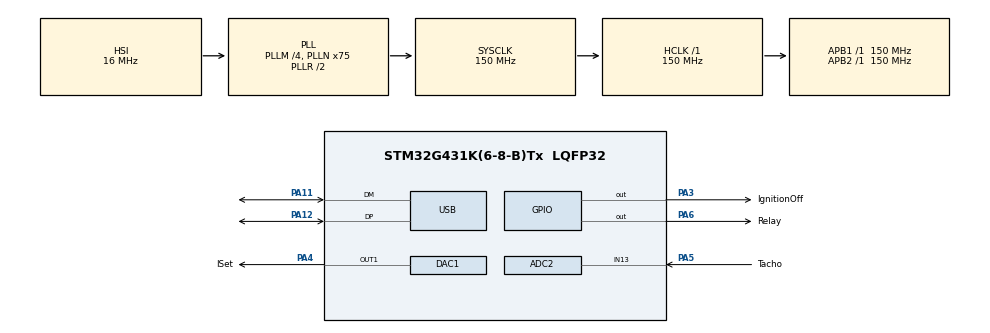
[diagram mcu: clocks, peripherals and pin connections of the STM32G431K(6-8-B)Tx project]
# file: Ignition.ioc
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ADC2.Channel-1\#ChannelRegularConversion=ADC_CHANNEL_13
ADC2.ExternalTrigConv=ADC_EXTERNALTRIG_T1_TRGO
ADC2.NbrOfConversionFlag=1
ADC2.OffsetNumber-1\#ChannelRegularConversion=ADC_OFFSET_NONE
ADC2.Rank-1\#ChannelRegularConversion=1
ADC2.SamplingTime-1\#ChannelRegularConversion=ADC_SAMPLETIME_2CYCLES_5
DAC1.DAC_HighFrequency_OUT1-DAC_OUT1=DAC_HIGH_FREQUENCY_INTERFACE_MODE_ABOVE_80MHZ
DAC1.DAC_OutputBuffer-DAC_OUT1=DAC_OUTPUTBUFFER_DISABLE
Mcu.Family=STM32G4
Mcu.Name=STM32G431K(6-8-B)Tx
Mcu.Package=LQFP32
NVIC.ADC1_2_IRQn=true\:0\:0\:false\:false\:true\:true\:true\:true
NVIC.PriorityGroup=NVIC_PRIORITYGROUP_4
NVIC.TIM1_TRG_COM_TIM17_IRQn=true\:0\:0\:false\:false\:true\:true\:true\:true
NVIC.TIM2_IRQn=true\:0\:0\:false\:false\:true\:true\:true\:true
NVIC.USB_LP_IRQn=true\:0\:0\:false\:false\:true\:false\:true\:true
PA11.Mode=Device
PA11.Signal=USB_DM
PA12.Mode=Device
PA12.Signal=USB_DP
PA13.Mode=Serial_Wire
PA13.Signal=SYS_JTMS-SWDIO
PA14.Mode=Serial_Wire
PA14.Signal=SYS_JTCK-SWCLK
PA3.GPIO_Label=IgnitionOff
PA3.Signal=GPIO_Output
PA4.GPIO_Label=ISet
PA4.Signal=COMP_DAC11_group
PA5.GPIO_Label=Tacho
PA5.Mode=IN13-Single-Ended
PA5.Signal=ADC2_IN13
PA6.GPIO_Label=Relay
PA6.Signal=GPIO_Output
ProjectManager.HeapSize=0x200
ProjectManager.StackSize=0x400
ProjectManager.TargetToolchain=STM32CubeIDE
RCC.ADC12Freq_Value=150000000
RCC.AHBFreq_Value=150000000
RCC.APB1Freq_Value=150000000
RCC.APB1TimFreq_Value=150000000
RCC.APB2Freq_Value=150000000
RCC.APB2TimFreq_Value=150000000
RCC.CK48CLockSelection=RCC_USBCLKSOURCE_HSI48
RCC.CortexFreq_Value=150000000
RCC.EXTERNAL_CLOCK_VALUE=12288000
RCC.HCLKFreq_Value=150000000
RCC.HSE_VALUE=8000000
RCC.HSI48_VALUE=48000000
RCC.HSI_VALUE=16000000
RCC.LSE_VALUE=32768
RCC.PLLM=RCC_PLLM_DIV4
RCC.PLLN=75
RCC.SYSCLKFreq_VALUE=150000000
RCC.SYSCLKSource=RCC_SYSCLKSOURCE_PLLCLK
RCC.USBFreq_Value=48000000
RCC.VCOOutputFreq_Value=300000000
SH.COMP_DAC11_group.0=DAC1_OUT1,DAC_OUT1
TIM1.Channel-PWM\ Generation1\ No\ Output=TIM_CHANNEL_1
TIM1.PeriodNoDither=200
TIM1.TIM_MasterOutputTrigger=TIM_TRGO_UPDATE
TIM2.PeriodNoDither=62499
TIM2.Prescaler=239
USB_DEVICE.CLASS_NAME_FS=CDC
USB_DEVICE.VirtualMode=Cdc
USB_DEVICE.VirtualModeFS=Cdc_FS
VP_SYS_VS_DBSignals.Mode=DisableDeadBatterySignals
VP_TIM1_VS_ClockSourceINT.Mode=Internal
VP_TIM1_VS_no_output1.Mode=PWM Generation1 No Output
VP_TIM2_VS_ClockSourceINT.Mode=Internal
VP_USB_DEVICE_VS_USB_DEVICE_CDC_FS.Mode=CDC_FS
board=custom

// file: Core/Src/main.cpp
/* USER CODE BEGIN Header */
/**
  ******************************************************************************
  * @file           : main.c
  * @brief          : Main program body
  ******************************************************************************
  * @attention
  *
  * Copyright (c) 2024 STMicroelectronics.
  * All rights reserved.
  *
  * This software is licensed under terms that can be found in the LICENSE file
  * in the root directory of this software component.
  * If no LICENSE file comes with this software, it is provided AS-IS.
  *
  ******************************************************************************
  */
/* USER CODE END Header */
#include "main.h"
#include "adc.h"
#include "dac.h"
#include "tim.h"
#include "usb_device.h"
#include "gpio.h"

/* USER CODE BEGIN Includes */
#include "stm32g4xx_hal.h"
#include "stdbool.h"
#include "Flash/Flash.h"
#include "USB/USBCom.h"
/* USER CODE END Includes */

/* USER CODE BEGIN PV */
	Flash flash = Flash();
	USB_Com Usb = USB_Com(&flash);

volatile uint32_t _adcValue = 0;
bool hasChanged = false;
/* USER CODE END PV */

void SystemClock_Config(void);

int main(void)
{

  /* MCU Configuration--------------------------------------------------------*/

  /* Reset of all peripherals, Initializes the Flash interface and the Systick. */
  HAL_Init();

  /* Configure the system clock */
  SystemClock_Config();

  /* Initialize all configured peripherals */
  MX_GPIO_Init();
  MX_USB_Device_Init();
  MX_ADC2_Init();
  MX_DAC1_Init();
  MX_TIM1_Init();
  MX_TIM2_Init();
  /* USER CODE BEGIN 2 */
	HAL_TIM_Base_Start_IT(&htim2);
	HAL_TIM_Base_Start_IT(&htim1);
	HAL_ADC_Start_IT(&hadc2);
	HAL_DAC_Start(&hdac1, DAC_CHANNEL_1);
  /* USER CODE END 2 */

  /* Infinite loop */
  /* USER CODE BEGIN WHILE */
  while (1)
  {

	  if(_adcValue > flash.GetFetOnValue())
	  {
			HAL_DAC_SetValue(&hdac1, DAC_CHANNEL_1, DAC_ALIGN_12B_R, 780);
			HAL_GPIO_WritePin(IgnitionOff_GPIO_Port, IgnitionOff_Pin, GPIO_PIN_RESET);
			HAL_GPIO_WritePin(Relay_GPIO_Port, Relay_Pin, GPIO_PIN_RESET);
			hasChanged = true;
	  }

	  if(_adcValue < flash.GetFetOffValue())
	  {
			HAL_DAC_SetValue(&hdac1, DAC_CHANNEL_1, DAC_ALIGN_12B_R, 0);
			HAL_GPIO_WritePin(IgnitionOff_GPIO_Port, IgnitionOff_Pin, GPIO_PIN_SET);
			HAL_GPIO_WritePin(Relay_GPIO_Port, Relay_Pin, GPIO_PIN_SET);
			hasChanged = true;
	  }
    /* USER CODE END WHILE */

  }
}

void SystemClock_Config(void)
{
  RCC_OscInitTypeDef RCC_OscInitStruct = {0};
  RCC_ClkInitTypeDef RCC_ClkInitStruct = {0};

  /** Configure the main internal regulator output voltage
  */
  HAL_PWREx_ControlVoltageScaling(PWR_REGULATOR_VOLTAGE_SCALE1);

  /** Initializes the RCC Oscillators according to the specified parameters
  * in the RCC_OscInitTypeDef structure.
  */
  RCC_OscInitStruct.OscillatorType = RCC_OSCILLATORTYPE_HSI|RCC_OSCILLATORTYPE_HSI48;
  RCC_OscInitStruct.HSIState = RCC_HSI_ON;
  RCC_OscInitStruct.HSICalibrationValue = RCC_HSICALIBRATION_DEFAULT;
  RCC_OscInitStruct.HSI48State = RCC_HSI48_ON;
  RCC_OscInitStruct.PLL.PLLState = RCC_PLL_ON;
  RCC_OscInitStruct.PLL.PLLSource = RCC_PLLSOURCE_HSI;
  RCC_OscInitStruct.PLL.PLLM = RCC_PLLM_DIV4;
  RCC_OscInitStruct.PLL.PLLN = 75;
  RCC_OscInitStruct.PLL.PLLP = RCC_PLLP_DIV2;
  RCC_OscInitStruct.PLL.PLLQ = RCC_PLLQ_DIV2;
  RCC_OscInitStruct.PLL.PLLR = RCC_PLLR_DIV2;
  if (HAL_RCC_OscConfig(&RCC_OscInitStruct) != HAL_OK)
  {
    Error_Handler();
  }

  /** Initializes the CPU, AHB and APB buses clocks
  */
  RCC_ClkInitStruct.ClockType = RCC_CLOCKTYPE_HCLK|RCC_CLOCKTYPE_SYSCLK
                              |RCC_CLOCKTYPE_PCLK1|RCC_CLOCKTYPE_PCLK2;
  RCC_ClkInitStruct.SYSCLKSource = RCC_SYSCLKSOURCE_PLLCLK;
  RCC_ClkInitStruct.AHBCLKDivider = RCC_SYSCLK_DIV1;
  RCC_ClkInitStruct.APB1CLKDivider = RCC_HCLK_DIV1;
  RCC_ClkInitStruct.APB2CLKDivider = RCC_HCLK_DIV1;

  if (HAL_RCC_ClockConfig(&RCC_ClkInitStruct, FLASH_LATENCY_4) != HAL_OK)
  {
    Error_Handler();
  }
}

/* USER CODE BEGIN 4 */
void HAL_ADC_ConvCpltCallback(ADC_HandleTypeDef *hadc){
	if(hadc->Instance == ADC2){
		_adcValue = hadc->Instance->DR;
	}
}

void HAL_TIM_PeriodElapsedCallback(TIM_HandleTypeDef *htim){
	if(htim->Instance == TIM2){
		if(hasChanged == true)
		{
			hasChanged = false;
		}
		else
		{
			HAL_DAC_SetValue(&hdac1, DAC_CHANNEL_1, DAC_ALIGN_12B_R, 0);
			HAL_GPIO_WritePin(IgnitionOff_GPIO_Port, IgnitionOff_Pin, GPIO_PIN_SET);
			HAL_GPIO_WritePin(Relay_GPIO_Port, Relay_Pin, GPIO_PIN_RESET);
		}
	}
}

void USB_CDC_RX_Interrupt(uint8_t *data, uint32_t length)
{
	Usb.Receive(data, length);
}

/* USER CODE END 4 */

void Error_Handler(void)
{
  __disable_irq();
  while (1)
  {
  }
}
